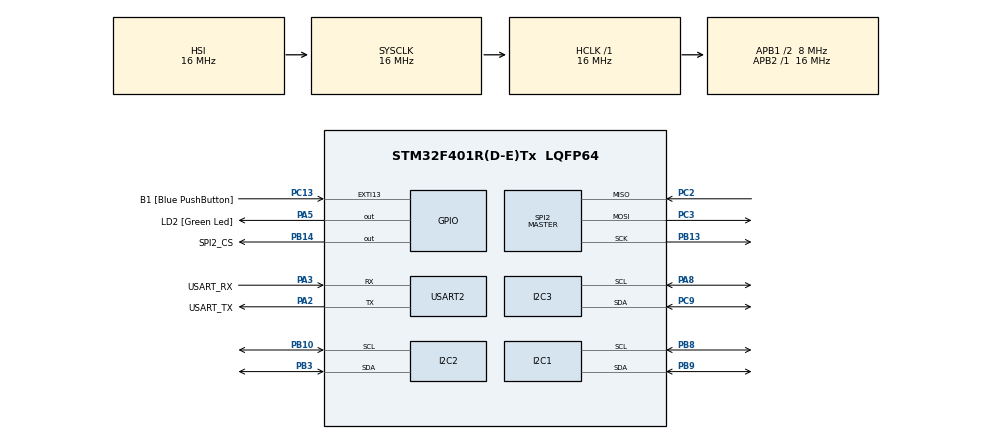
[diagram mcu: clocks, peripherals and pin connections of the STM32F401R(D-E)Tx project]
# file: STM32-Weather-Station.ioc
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Mcu.Family=STM32F4
Mcu.Name=STM32F401R(D-E)Tx
Mcu.Package=LQFP64
NVIC.I2C1_ER_IRQn=true\:0\:0\:false\:false\:true\:true\:true\:true
NVIC.I2C1_EV_IRQn=true\:0\:0\:false\:false\:true\:true\:true\:true
NVIC.I2C3_ER_IRQn=true\:0\:0\:false\:false\:true\:true\:true\:true
NVIC.I2C3_EV_IRQn=true\:0\:0\:false\:false\:true\:true\:true\:true
NVIC.PriorityGroup=NVIC_PRIORITYGROUP_4
PA13.GPIO_Label=TMS
PA13.Mode=Serial_Wire
PA13.Signal=SYS_JTMS-SWDIO
PA14.GPIO_Label=TCK
PA14.Mode=Serial_Wire
PA14.Signal=SYS_JTCK-SWCLK
PA2.GPIO_Label=USART_TX
PA2.GPIO_Mode=GPIO_MODE_AF_PP
PA2.GPIO_PuPd=GPIO_NOPULL
PA2.GPIO_Speed=GPIO_SPEED_FREQ_LOW
PA2.Mode=Asynchronous
PA2.Signal=USART2_TX
PA3.GPIO_Label=USART_RX
PA3.GPIO_Mode=GPIO_MODE_AF_PP
PA3.GPIO_PuPd=GPIO_NOPULL
PA3.GPIO_Speed=GPIO_SPEED_FREQ_LOW
PA3.Mode=Asynchronous
PA3.Signal=USART2_RX
PA5.GPIO_Label=LD2 [Green Led]
PA5.GPIO_Mode=GPIO_MODE_OUTPUT_PP
PA5.GPIO_PuPd=GPIO_NOPULL
PA5.GPIO_Speed=GPIO_SPEED_FREQ_LOW
PA5.Signal=GPIO_Output
PA8.GPIO_Pu=GPIO_PULLUP
PA8.Mode=I2C
PA8.Signal=I2C3_SCL
PB10.GPIO_Pu=GPIO_PULLUP
PB10.Mode=I2C
PB10.Signal=I2C2_SCL
PB13.GPIO_PuPd=GPIO_NOPULL
PB13.Mode=Full_Duplex_Master
PB13.Signal=SPI2_SCK
PB14.GPIO_Label=SPI2_CS
PB14.GPIO_PuPd=GPIO_PULLUP
PB14.PinState=GPIO_PIN_SET
PB14.Signal=GPIO_Output
PB3.GPIO_Pu=GPIO_PULLUP
PB3.Mode=I2C
PB3.Signal=I2C2_SDA
PB8.GPIO_Pu=GPIO_PULLUP
PB8.Mode=I2C
PB8.Signal=I2C1_SCL
PB9.GPIO_Pu=GPIO_PULLUP
PB9.Mode=I2C
PB9.Signal=I2C1_SDA
PC13-ANTI_TAMP.GPIO_Label=B1 [Blue PushButton]
PC13-ANTI_TAMP.GPIO_ModeDefaultEXTI=GPIO_MODE_IT_FALLING
PC13-ANTI_TAMP.GPIO_PuPd=GPIO_NOPULL
PC13-ANTI_TAMP.Signal=GPXTI13
PC14-OSC32_IN.Mode=LSE-External-Oscillator
PC14-OSC32_IN.Signal=RCC_OSC32_IN
PC15-OSC32_OUT.Mode=LSE-External-Oscillator
PC15-OSC32_OUT.Signal=RCC_OSC32_OUT
PC2.GPIO_PuPd=GPIO_NOPULL
PC2.Mode=Full_Duplex_Master
PC2.Signal=SPI2_MISO
PC3.GPIO_PuPd=GPIO_NOPULL
PC3.Mode=Full_Duplex_Master
PC3.Signal=SPI2_MOSI
PC9.GPIO_Pu=GPIO_PULLUP
PC9.Mode=I2C
PC9.Signal=I2C3_SDA
PH0\ -\ OSC_IN.Mode=HSE-External-Clock-Source
PH0\ -\ OSC_IN.Signal=RCC_OSC_IN
PH1\ -\ OSC_OUT.Mode=HSE-External-Clock-Source
PH1\ -\ OSC_OUT.Signal=RCC_OSC_OUT
ProjectManager.HeapSize=0x200
ProjectManager.StackSize=0x400
ProjectManager.TargetToolchain=STM32CubeIDE
RCC.48MHZClocksFreq_Value=48000000
RCC.AHBFreq_Value=16000000
RCC.APB1CLKDivider=RCC_HCLK_DIV2
RCC.APB1Freq_Value=8000000
RCC.APB1TimFreq_Value=16000000
RCC.APB2Freq_Value=16000000
RCC.APB2TimFreq_Value=16000000
RCC.CortexFreq_Value=16000000
RCC.HCLKFreq_Value=16000000
RCC.HSE_VALUE=8000000
RCC.HSI_VALUE=16000000
RCC.PLLN=336
RCC.PLLP=RCC_PLLP_DIV4
RCC.PLLQ=7
RCC.SYSCLKFreq_VALUE=16000000
RCC.VCOOutputFreq_Value=336000000
SPI2.BaudRatePrescaler=SPI_BAUDRATEPRESCALER_256
SPI2.Direction=SPI_DIRECTION_2LINES
SPI2.Mode=SPI_MODE_MASTER
SPI2.VirtualType=VM_MASTER
USART2.VirtualMode=VM_ASYNC
VP_FATFS_VS_Generic.Mode=User_defined
board=NUCLEO-F401RE

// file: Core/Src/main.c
/* USER CODE BEGIN Header */
/**
  ******************************************************************************
  * @file           : main.c
  * @brief          : Main program body
  ******************************************************************************
  * @attention
  *
  * Copyright (c) 2026 STMicroelectronics.
  * All rights reserved.
  *
  * This software is licensed under terms that can be found in the LICENSE file
  * in the root directory of this software component.
  * If no LICENSE file comes with this software, it is provided AS-IS.
  *
  ******************************************************************************
  */
/* USER CODE END Header */
#include "main.h"
#include "fatfs.h"

/* USER CODE BEGIN Includes */
#include <string.h>
#include <stdio.h>
#include "ssd1306.h"
#include "ssd1306_fonts.h"
#include <stdarg.h>
/* USER CODE END Includes */

I2C_HandleTypeDef hi2c1;
I2C_HandleTypeDef hi2c2;
I2C_HandleTypeDef hi2c3;

SPI_HandleTypeDef hspi2;

UART_HandleTypeDef huart2;

/* USER CODE BEGIN PV */

// I2C with BME280 (Press,Hum,Temp Module)
uint8_t TX_Buffer_BME280 = 0 ; // DATA to send
uint16_t TX_Address_BME280 = 0 ; // Address to send to
uint8_t RX_Buffer_BME280 = 0 ; // DATA to receive from BME280
uint16_t RX_Address_BME280 = 0 ; // Address to read
uint8_t RX_DevAddress_BME280 = 0xEC; // 0x76 shifted once (Address on [7:1])
uint8_t RX_Buffer_BME280_Burst[BURST_SIZE];

//BME280 Compensation Reading
uint8_t RX_Buffer_BME280_Burst_Compensation_1[COMPENSATION_BURST_SIZE_1];
uint8_t RX_Buffer_BME280_Burst_Compensation_2[COMPENSATION_BURST_SIZE_2];
//BME280 Compensation Variables
unsigned short dig_T1,dig_P1;
signed short dig_T2,dig_T3,dig_P2,dig_P3,dig_P4,dig_P5,dig_P6,dig_P7,dig_P8,dig_P9,dig_H2,dig_H4,dig_H5;
unsigned char dig_H1,dig_H3;
signed char dig_H6;

//BME280 Data Conversion
uint32_t t_fine;
uint32_t humidity_raw = 0; //16bits
uint32_t temperature_raw = 0; //20bits
uint32_t pressure_raw = 0; //20bits
uint32_t humidity_compensated, temperature_compensated, pressure_compensated;
uint32_t temp_int,temp_dec,humid_int,humid_dec,press_int,press_dec; //Real Data readable (e.g 22.67degC)

//RTC Module Variables
uint8_t RX_DevAddress_RTC = 0xD0; //1101 0000 Read
uint8_t TX_DevAddress_RTC = 0xD1; //1101 0001 Write
uint8_t RX_Address_RTC = 0;
uint8_t TX_Address_RTC = 0;
uint8_t RX_Buffer_RTC_Burst[BURST_SIZE_RTC];

uint8_t currentYear = 0;
uint8_t currentMonth = 0;
uint8_t currentDay = 0;
uint8_t currentHour = 0;
uint8_t currentMinute = 0;
uint8_t currentSecond = 0;
char currentDate[128];

/* USER CODE END PV */

void SystemClock_Config(void);
static void MX_GPIO_Init(void);
static void MX_I2C1_Init(void);
static void MX_USART2_UART_Init(void);
static void MX_I2C3_Init(void);
static void MX_I2C2_Init(void);
static void MX_SPI2_Init(void);
/* USER CODE BEGIN PFP */
void myprintf(const char *fmt,...);
/* USER CODE END PFP */

/* USER CODE BEGIN 0 */

void myprintf(const char *fmt, ...) {
  static char buffer[256];
  va_list args;
  va_start(args, fmt);
  vsnprintf(buffer, sizeof(buffer), fmt, args);
  va_end(args);

  int len = strlen(buffer);
  HAL_UART_Transmit(&huart2, (uint8_t*)buffer, len, -1);

}

/* USER CODE END 0 */

int main(void)
{

  /* MCU Configuration--------------------------------------------------------*/

  /* Reset of all peripherals, Initializes the Flash interface and the Systick. */
  HAL_Init();

  /* Configure the system clock */
  SystemClock_Config();

  /* Initialize all configured peripherals */
  MX_GPIO_Init();
  MX_I2C1_Init();
  MX_USART2_UART_Init();
  MX_I2C3_Init();
  MX_I2C2_Init();
  MX_SPI2_Init();
  MX_FATFS_Init();
  /* USER CODE BEGIN 2 */

  char test[] = "--- TEST UART STM32 OK ---\r\n";
  HAL_UART_Transmit(&huart2, (uint8_t*)test, strlen(test), HAL_MAX_DELAY);

  //Set up BME280 Configuration
  BME280_Init();

  //Getting Weather Data From BME280
  BME280_GetData();

  HAL_Delay(100);

  //Setting SSD1306 OLED Display
  ssd1306_Init();

  //Uncomment the following line to manually set the date (when Vbatt is off or replaced)
  //ds3231_Init(2026, 9, 8, 12, 18, 0);

  //Uncomment those lines to reset SD Card File Management
  //Deletes old version of the txt and csv file
  //fatFS_deleteFile("weather.txt");
  //fatFS_deleteFile("weather.csv");

  ds3231_getDate();
  fatFS_writeFile(); //First Input writing when turning ON the STM32
  fatFS_inputCSV();
  fatFS_readFile(); //Reading weather.txt, the text file containing the weather datas

  /* USER CODE END 2 */

  /* Infinite loop */
  /* USER CODE BEGIN WHILE */
  while (1)
  {

	//Read Date
	ds3231_getDate();
	//Getting Weather Data From BME280
	BME280_GetData();
	HAL_Delay(1000);

	//Printing Weather Informations on the OLED Display
	ssd1306_WriteWeatherInfos(currentDate, temp_int,temp_dec,humid_int,humid_dec,press_int,press_dec);
	HAL_Delay(2000);

	//Every 5minutes, we write the data into the SD Card
	//In a text file, and in a csv file used to display datas on apps for example
	if((currentMinute%5 == 0) && (currentSecond<3)){
		fatFS_writeFile();
		fatFS_inputCSV();
	}

    /* USER CODE END WHILE */

  }
}

void SystemClock_Config(void)
{
  RCC_OscInitTypeDef RCC_OscInitStruct = {0};
  RCC_ClkInitTypeDef RCC_ClkInitStruct = {0};

  /** Configure the main internal regulator output voltage
  */
  __HAL_RCC_PWR_CLK_ENABLE();
  __HAL_PWR_VOLTAGESCALING_CONFIG(PWR_REGULATOR_VOLTAGE_SCALE2);

  /** Initializes the RCC Oscillators according to the specified parameters
  * in the RCC_OscInitTypeDef structure.
  */
  RCC_OscInitStruct.OscillatorType = RCC_OSCILLATORTYPE_HSI;
  RCC_OscInitStruct.HSIState = RCC_HSI_ON;
  RCC_OscInitStruct.HSICalibrationValue = RCC_HSICALIBRATION_DEFAULT;
  RCC_OscInitStruct.PLL.PLLState = RCC_PLL_NONE;
  if (HAL_RCC_OscConfig(&RCC_OscInitStruct) != HAL_OK)
  {
    Error_Handler();
  }

  /** Initializes the CPU, AHB and APB buses clocks
  */
  RCC_ClkInitStruct.ClockType = RCC_CLOCKTYPE_HCLK|RCC_CLOCKTYPE_SYSCLK
                              |RCC_CLOCKTYPE_PCLK1|RCC_CLOCKTYPE_PCLK2;
  RCC_ClkInitStruct.SYSCLKSource = RCC_SYSCLKSOURCE_HSI;
  RCC_ClkInitStruct.AHBCLKDivider = RCC_SYSCLK_DIV1;
  RCC_ClkInitStruct.APB1CLKDivider = RCC_HCLK_DIV2;
  RCC_ClkInitStruct.APB2CLKDivider = RCC_HCLK_DIV1;

  if (HAL_RCC_ClockConfig(&RCC_ClkInitStruct, FLASH_LATENCY_0) != HAL_OK)
  {
    Error_Handler();
  }
}

static void MX_I2C1_Init(void)
{

  hi2c1.Instance = I2C1;
  hi2c1.Init.ClockSpeed = 100000;
  hi2c1.Init.DutyCycle = I2C_DUTYCYCLE_2;
  hi2c1.Init.OwnAddress1 = 0;
  hi2c1.Init.AddressingMode = I2C_ADDRESSINGMODE_7BIT;
  hi2c1.Init.DualAddressMode = I2C_DUALADDRESS_DISABLE;
  hi2c1.Init.OwnAddress2 = 0;
  hi2c1.Init.GeneralCallMode = I2C_GENERALCALL_DISABLE;
  hi2c1.Init.NoStretchMode = I2C_NOSTRETCH_DISABLE;
  if (HAL_I2C_Init(&hi2c1) != HAL_OK)
  {
    Error_Handler();
  }

}

static void MX_I2C2_Init(void)
{

  hi2c2.Instance = I2C2;
  hi2c2.Init.ClockSpeed = 100000;
  hi2c2.Init.DutyCycle = I2C_DUTYCYCLE_2;
  hi2c2.Init.OwnAddress1 = 0;
  hi2c2.Init.AddressingMode = I2C_ADDRESSINGMODE_7BIT;
  hi2c2.Init.DualAddressMode = I2C_DUALADDRESS_DISABLE;
  hi2c2.Init.OwnAddress2 = 0;
  hi2c2.Init.GeneralCallMode = I2C_GENERALCALL_DISABLE;
  hi2c2.Init.NoStretchMode = I2C_NOSTRETCH_DISABLE;
  if (HAL_I2C_Init(&hi2c2) != HAL_OK)
  {
    Error_Handler();
  }

}

static void MX_I2C3_Init(void)
{

  hi2c3.Instance = I2C3;
  hi2c3.Init.ClockSpeed = 100000;
  hi2c3.Init.DutyCycle = I2C_DUTYCYCLE_2;
  hi2c3.Init.OwnAddress1 = 0;
  hi2c3.Init.AddressingMode = I2C_ADDRESSINGMODE_7BIT;
  hi2c3.Init.DualAddressMode = I2C_DUALADDRESS_DISABLE;
  hi2c3.Init.OwnAddress2 = 0;
  hi2c3.Init.GeneralCallMode = I2C_GENERALCALL_DISABLE;
  hi2c3.Init.NoStretchMode = I2C_NOSTRETCH_DISABLE;
  if (HAL_I2C_Init(&hi2c3) != HAL_OK)
  {
    Error_Handler();
  }

}

static void MX_SPI2_Init(void)
{

  /* SPI2 parameter configuration*/
  hspi2.Instance = SPI2;
  hspi2.Init.Mode = SPI_MODE_MASTER;
  hspi2.Init.Direction = SPI_DIRECTION_2LINES;
  hspi2.Init.DataSize = SPI_DATASIZE_8BIT;
  hspi2.Init.CLKPolarity = SPI_POLARITY_LOW;
  hspi2.Init.CLKPhase = SPI_PHASE_1EDGE;
  hspi2.Init.NSS = SPI_NSS_SOFT;
  hspi2.Init.BaudRatePrescaler = SPI_BAUDRATEPRESCALER_256;
  hspi2.Init.FirstBit = SPI_FIRSTBIT_MSB;
  hspi2.Init.TIMode = SPI_TIMODE_DISABLE;
  hspi2.Init.CRCCalculation = SPI_CRCCALCULATION_DISABLE;
  hspi2.Init.CRCPolynomial = 10;
  if (HAL_SPI_Init(&hspi2) != HAL_OK)
  {
    Error_Handler();
  }

}

static void MX_USART2_UART_Init(void)
{

  huart2.Instance = USART2;
  huart2.Init.BaudRate = 115200;
  huart2.Init.WordLength = UART_WORDLENGTH_8B;
  huart2.Init.StopBits = UART_STOPBITS_1;
  huart2.Init.Parity = UART_PARITY_NONE;
  huart2.Init.Mode = UART_MODE_TX_RX;
  huart2.Init.HwFlowCtl = UART_HWCONTROL_NONE;
  huart2.Init.OverSampling = UART_OVERSAMPLING_16;
  if (HAL_UART_Init(&huart2) != HAL_OK)
  {
    Error_Handler();
  }

}

static void MX_GPIO_Init(void)
{
  GPIO_InitTypeDef GPIO_InitStruct = {0};

  /* GPIO Ports Clock Enable */
  __HAL_RCC_GPIOC_CLK_ENABLE();
  __HAL_RCC_GPIOH_CLK_ENABLE();
  __HAL_RCC_GPIOA_CLK_ENABLE();
  __HAL_RCC_GPIOB_CLK_ENABLE();

  /*Configure GPIO pin Output Level */
  HAL_GPIO_WritePin(LD2_GPIO_Port, LD2_Pin, GPIO_PIN_RESET);

  /*Configure GPIO pin Output Level */
  HAL_GPIO_WritePin(SPI2_CS_GPIO_Port, SPI2_CS_Pin, GPIO_PIN_SET);

  /*Configure GPIO pin : B1_Pin */
  GPIO_InitStruct.Pin = B1_Pin;
  GPIO_InitStruct.Mode = GPIO_MODE_IT_FALLING;
  GPIO_InitStruct.Pull = GPIO_NOPULL;
  HAL_GPIO_Init(B1_GPIO_Port, &GPIO_InitStruct);

  /*Configure GPIO pin : LD2_Pin */
  GPIO_InitStruct.Pin = LD2_Pin;
  GPIO_InitStruct.Mode = GPIO_MODE_OUTPUT_PP;
  GPIO_InitStruct.Pull = GPIO_NOPULL;
  GPIO_InitStruct.Speed = GPIO_SPEED_FREQ_LOW;
  HAL_GPIO_Init(LD2_GPIO_Port, &GPIO_InitStruct);

  /*Configure GPIO pin : SPI2_CS_Pin */
  GPIO_InitStruct.Pin = SPI2_CS_Pin;
  GPIO_InitStruct.Mode = GPIO_MODE_OUTPUT_PP;
  GPIO_InitStruct.Pull = GPIO_PULLUP;
  GPIO_InitStruct.Speed = GPIO_SPEED_FREQ_LOW;
  HAL_GPIO_Init(SPI2_CS_GPIO_Port, &GPIO_InitStruct);

}

/* USER CODE BEGIN 4 */

void BME280_Init(void) {

    // Humidity ON register 0xF2
    TX_Buffer_BME280 = 0x01; // x1 Oversampling
    HAL_I2C_Mem_Write(&hi2c1, RX_DevAddress_BME280, 0xF2, I2C_MEMADD_SIZE_8BIT, &TX_Buffer_BME280, 1, 100);

    // Pression, Température Configuration and switch to NORMAL MODE (0x27)
    // Bit [7:5] x1 Temp oversampling (001)
    // Bit [4:2] x1 Press oversampling (001)
    // Bit [1:0] NORMAL MODE (11) -> 0010 0111 = 0x27
    TX_Buffer_BME280 = 0x27;
    HAL_I2C_Mem_Write(&hi2c1, RX_DevAddress_BME280, 0xF4, I2C_MEMADD_SIZE_8BIT, &TX_Buffer_BME280, 1, 100);

    HAL_Delay(100);
}

void BME280_GetData(void){

		BME280_isConnected();

		//Burst Reading BME280 Registers (Humidity, Pressure, Temperature Datas)

		if(RX_Buffer_BME280 == (uint8_t)0x60){

			//Burst Reading : 111011X1 Read-Mode
		    //From 0xF7 to 0xFE to obtain all informations at once
			RX_DevAddress_BME280 = 0xEC;
			RX_Address_BME280 = 0xF7;

			//Reading  Press,Humid,Temp from BME280
			HAL_I2C_Mem_Read(&hi2c1,RX_DevAddress_BME280,RX_Address_BME280,I2C_MEMADD_SIZE_8BIT,RX_Buffer_BME280_Burst,BURST_SIZE,1000);

			//RX_Buffer_BME280_Burst[6:7] HUMIDITY
			humidity_raw = RX_Buffer_BME280_Burst[6]<<8 | RX_Buffer_BME280_Burst[7];
			//RX_Buffer_BME280_Burst[3:5] TEMPERATURE
			temperature_raw = RX_Buffer_BME280_Burst[3]<<12 | RX_Buffer_BME280_Burst[4]<<4 | RX_Buffer_BME280_Burst[5]>>4;
			//RX_Buffer_BME280_Burst[0:2] PRESSURE
			pressure_raw = RX_Buffer_BME280_Burst[0]<<12 | RX_Buffer_BME280_Burst[1]<<4 | RX_Buffer_BME280_Burst[2]>>4;

			//Printing data to Terminal via UART
			BME280_print_raw_data();

			//Getting Compensation values from BME280;
			BME280_compensation_read();

			//Conversion from Raw to Human-Readable Data
			//Conversion formulas are provided by Bosch in the BME280 Datasheet provided in /docs

			temperature_compensated = BME280_compensate_T_int32(temperature_raw);
			pressure_compensated = BME280_compensate_P_int64(pressure_raw);
			humidity_compensated = BME280_compensate_H_int32(humidity_raw);

			BME280_print_compensated_data();

		}
}

void BME280_isConnected(void)
{
	// Receive BME280 Chip Id (0x60 on default)
	RX_Address_BME280 = 0xD0;

	if(HAL_I2C_Mem_Read(&hi2c1,RX_DevAddress_BME280,RX_Address_BME280,I2C_MEMADD_SIZE_8BIT,&RX_Buffer_BME280,1,1000) == HAL_OK) //Sending in Interrupt mode
	{
		//Send Chip_Id to PC via UART (PutTy)
		char buf[64];
		sprintf(buf, "Chip Id: %X\r\n", RX_Buffer_BME280);
		HAL_UART_Transmit(&huart2, (uint8_t*)buf, strlen(buf), HAL_MAX_DELAY);
	}
	else
	{
		char buf[64];
		sprintf(buf, "Chip not connected \r\n");
		HAL_UART_Transmit(&huart2, (uint8_t*)buf, strlen(buf), HAL_MAX_DELAY);
	}
}

void BME280_print_raw_data(void)
{
	char buf[64];
	sprintf(buf, "--- RAW DATA FROM BME280 --- \r\n");
	HAL_UART_Transmit(&huart2, (uint8_t*)buf, strlen(buf), HAL_MAX_DELAY);

	sprintf(buf, "Humidity raw : %lu \r\n", humidity_raw);
	HAL_UART_Transmit(&huart2, (uint8_t*)buf, strlen(buf), HAL_MAX_DELAY);

	sprintf(buf, "Temperature raw : %lu \r\n", temperature_raw);
	HAL_UART_Transmit(&huart2, (uint8_t*)buf, strlen(buf), HAL_MAX_DELAY);

	sprintf(buf, "Pressure raw : %lu \r\n", pressure_raw);
	HAL_UART_Transmit(&huart2, (uint8_t*)buf, strlen(buf), HAL_MAX_DELAY);
}

void BME280_compensation_read(void)
{
	//Reading Coefficients in the BME280 EEPROM Memory (Burst Reading)
	RX_Address_BME280 = 0x88;
	HAL_I2C_Mem_Read(&hi2c1,RX_DevAddress_BME280,RX_Address_BME280,I2C_MEMADD_SIZE_8BIT,RX_Buffer_BME280_Burst_Compensation_1,COMPENSATION_BURST_SIZE_1,1000);
	RX_Address_BME280 = 0xE1;
	HAL_I2C_Mem_Read(&hi2c1,RX_DevAddress_BME280,RX_Address_BME280,I2C_MEMADD_SIZE_8BIT,RX_Buffer_BME280_Burst_Compensation_2,COMPENSATION_BURST_SIZE_2,1000);

	//Parsing Burst Reading into Compensation variables
	dig_T1 = (unsigned short) (RX_Buffer_BME280_Burst_Compensation_1[1]<<8 | RX_Buffer_BME280_Burst_Compensation_1[0]);
	dig_T2 = (signed short) (RX_Buffer_BME280_Burst_Compensation_1[3]<<8 | RX_Buffer_BME280_Burst_Compensation_1[2]);
	dig_T3 = (signed short) (RX_Buffer_BME280_Burst_Compensation_1[5]<<8 | RX_Buffer_BME280_Burst_Compensation_1[4]);

	dig_P1 = (unsigned short) (RX_Buffer_BME280_Burst_Compensation_1[7]<<8 | RX_Buffer_BME280_Burst_Compensation_1[6]);
	dig_P2 = (signed short) (RX_Buffer_BME280_Burst_Compensation_1[9]<<8 | RX_Buffer_BME280_Burst_Compensation_1[8]);
	dig_P3 = (signed short) (RX_Buffer_BME280_Burst_Compensation_1[11]<<8 | RX_Buffer_BME280_Burst_Compensation_1[10]);
	dig_P4 = (signed short) (RX_Buffer_BME280_Burst_Compensation_1[13]<<8 | RX_Buffer_BME280_Burst_Compensation_1[12]);
	dig_P5 = (signed short) (RX_Buffer_BME280_Burst_Compensation_1[15]<<8 | RX_Buffer_BME280_Burst_Compensation_1[14]);
	dig_P6 = (signed short) (RX_Buffer_BME280_Burst_Compensation_1[17]<<8 | RX_Buffer_BME280_Burst_Compensation_1[16]);
	dig_P7 = (signed short) (RX_Buffer_BME280_Burst_Compensation_1[19]<<8 | RX_Buffer_BME280_Burst_Compensation_1[18]);
	dig_P8 = (signed short) (RX_Buffer_BME280_Burst_Compensation_1[21]<<8 | RX_Buffer_BME280_Burst_Compensation_1[20]);
	dig_P9 = (signed short) (RX_Buffer_BME280_Burst_Compensation_1[23]<<8 | RX_Buffer_BME280_Burst_Compensation_1[22]);

	dig_H1 = (unsigned char) (RX_Buffer_BME280_Burst_Compensation_1[24]);
	dig_H2 = (signed short) (RX_Buffer_BME280_Burst_Compensation_2[1]<<8 | RX_Buffer_BME280_Burst_Compensation_2[0]);
	dig_H3 = (unsigned char) (RX_Buffer_BME280_Burst_Compensation_2[2]);
	dig_H4 = (signed short) ((signed char)RX_Buffer_BME280_Burst_Compensation_2[3]<<4) | (RX_Buffer_BME280_Burst_Compensation_2[4] & 0x0F);
	dig_H5 = (signed short) ((signed char)RX_Buffer_BME280_Burst_Compensation_2[5]<<4) | (RX_Buffer_BME280_Burst_Compensation_2[4]>>4);
	dig_H6 = (signed char) (RX_Buffer_BME280_Burst_Compensation_2[6]);
}

// Returns temperature in DegC, resolution is 0.01 DegC. Output value of “5123” equals 51.23 DegC.
// t_fine carries fine temperature as global value
uint32_t BME280_compensate_T_int32(uint32_t adc_T)
{
	uint32_t var1, var2, T;
	var1  = ((((adc_T>>3) - ((int32_t)dig_T1<<1))) * ((int32_t)dig_T2)) >> 11;
	var2  = (((((adc_T>>4) - ((int32_t)dig_T1)) * ((adc_T>>4) - ((int32_t)dig_T1)))>> 12) *((int32_t)dig_T3)) >> 14;
	t_fine = var1 + var2;
	T  = (t_fine * 5 + 128) >> 8;
	return T;
}

// Returns pressure in Pa as unsigned 32 bit integer in Q24.8 format (24 integer bits and 8fractional bits).
// Output value of “24674867” represents 24674867/256 = 96386.2 Pa = 963.862 hPa

uint32_t BME280_compensate_P_int64(int32_t adc_P)
{
	int64_t var1, var2, p;
	var1 = ((int64_t)t_fine) - 128000;
	var2 = var1 * var1 * (int64_t)dig_P6;
	var2 = var2 + ((var1*(int64_t)dig_P5)<<17);
	var2 = var2 + (((int64_t)dig_P4)<<35);
	var1 = ((var1 * var1 * (int64_t)dig_P3)>>8) + ((var1 * (int64_t)dig_P2)<<12);
	var1 = (((((int64_t)1)<<47)+var1))*((int64_t)dig_P1)>>33;
	if (var1 == 0)
	{
		return 0; // avoid exception caused by division by zero
	}
	p = 1048576-adc_P;
	p = (((p<<31)-var2)*3125)/var1;
	var1 = (((int64_t)dig_P9) * (p>>13) * (p>>13)) >> 25;
	var2 = (((int64_t)dig_P8) * p) >> 19;
	p = ((p + var1 + var2) >> 8) + (((int64_t)dig_P7)<<4);
	return (uint32_t)p;
}

// Returns humidity in %RH as unsigned 32 bit integer in Q22.10 format (22 integer and 10 fractional bits).
// Output value of “47445” represents 47445/1024 = 46.333 %RH
uint32_t BME280_compensate_H_int32(int32_t adc_H)
{
	int32_t v_x1_u32r;
	v_x1_u32r = (t_fine - ((int32_t)76800));
	v_x1_u32r = (((((adc_H << 14) - (((int32_t)dig_H4) << 20) - (((int32_t)dig_H5) * v_x1_u32r)) + ((int32_t)16384)) >> 15) * (((((((v_x1_u32r *((int32_t)dig_H6)) >> 10) * (((v_x1_u32r * ((int32_t)dig_H3)) >> 11) + ((int32_t)32768))) >> 10) + ((int32_t)2097152)) * ((int32_t)dig_H2) + 8192) >> 14));
	v_x1_u32r = (v_x1_u32r - (((((v_x1_u32r >> 15) * (v_x1_u32r >> 15)) >> 7) * ((int32_t)dig_H1)) >> 4));
	v_x1_u32r = (v_x1_u32r < 0 ? 0 : v_x1_u32r);
	v_x1_u32r = (v_x1_u32r > 419430400 ? 419430400 : v_x1_u32r);
	return (uint32_t)(v_x1_u32r>>12);
}

void BME280_print_compensated_data(void)
{
	char buf[64];

	sprintf(buf, "--- COMPENSATED DATA FROM BME280 --- \r\n");
	HAL_UART_Transmit(&huart2, (uint8_t*)buf, strlen(buf), HAL_MAX_DELAY);

	temp_int = temperature_compensated / 100;
	temp_dec = temperature_compensated % 100;
	sprintf(buf, "Temperature : %d.%d °C\r\n", (int)temp_int,(int)temp_dec);
	HAL_UART_Transmit(&huart2, (uint8_t*)buf, strlen(buf), HAL_MAX_DELAY);

	press_int = pressure_compensated/25600;
	press_dec = ((pressure_compensated % 25600)*100) / 25600;
	sprintf(buf, "Pressure : %d.%d hPa\r\n", (int)press_int,(int)press_dec);
	HAL_UART_Transmit(&huart2, (uint8_t*)buf, strlen(buf), HAL_MAX_DELAY);

	humid_int = humidity_compensated/1024;
	humid_dec = ((humidity_compensated % 1024)*100) / 1024;
	sprintf(buf, "Humidity : %d.%d RH\r\n", (int)humid_int,(int)humid_dec);
	HAL_UART_Transmit(&huart2, (uint8_t*)buf, strlen(buf), HAL_MAX_DELAY);
}

//Conversion from Decimal to BCD (Writing into RTC)
uint8_t decToBcd(uint8_t val) {
    return ((val / 10) << 4) | (val % 10);
}

//This function needs to be called if the RTC module onboard battery has been switched
//It gives the RTC Module the current time in order to setup its own clock
void ds3231_Init(int year, int month, int day, int hour, int minute, int second)
{
	//Setting up RTC Date
	uint8_t setDate[7];
	TX_Address_RTC = 0x00;

	setDate[0] = decToBcd(second);
	setDate[1] = decToBcd(minute);
	setDate[2] = decToBcd(hour);     // 24h Mode
	setDate[3] = decToBcd(0x00); //Skipped
	setDate[4] = decToBcd(day);
	setDate[5] = decToBcd(month);
	setDate[6] = decToBcd(year % 100); //Only contains the last two digits

	//Burst Write
	HAL_I2C_Mem_Write(&hi2c2, TX_DevAddress_RTC, TX_Address_RTC, I2C_MEMADD_SIZE_8BIT, setDate, sizeof(setDate), 100);

	//Debugging
	char buf[64];
	for (int i=0;i<7;i++)
	{
		sprintf(buf, "Data %d : %u \r\n", i,setDate[i]);
		HAL_UART_Transmit(&huart2, (uint8_t*)buf, strlen(buf), HAL_MAX_DELAY);
	}

}

//Get current date from ds3231 RTC Module
void ds3231_getDate(void)
{
	//Burst Reading the RTC registers
	RX_Address_RTC = 0x00;
	HAL_I2C_Mem_Read(&hi2c2,RX_DevAddress_RTC,RX_Address_RTC,I2C_MEMADD_SIZE_8BIT,RX_Buffer_RTC_Burst,BURST_SIZE_RTC,1000);

	//Setting variables
	//BCD (Binary-Coded Decimal) format, Needs conversion
	currentYear = ((RX_Buffer_RTC_Burst[6]>>4)*10) + (RX_Buffer_RTC_Burst[6] & 0x0F); //Year only contains last digits
	currentMonth = (((RX_Buffer_RTC_Burst[5]>>4) & 0x01)*10) + (RX_Buffer_RTC_Burst[5] & 0x0F);
	currentDay = (((RX_Buffer_RTC_Burst[4]>>4) & 0x03)*10) + (RX_Buffer_RTC_Burst[4] & 0x0F);
	currentHour = (((RX_Buffer_RTC_Burst[2]>>4) & 0x03)*10) + (RX_Buffer_RTC_Burst[2] & 0x0F);
	currentMinute = ((RX_Buffer_RTC_Burst[1]>>4)*10) + (RX_Buffer_RTC_Burst[1] & 0x0F);
	currentSecond = (((RX_Buffer_RTC_Burst[0] & 0x7F)>>4)*10) + (RX_Buffer_RTC_Burst[0] & 0x0F);

	//Setting currentDate Value for saving in SD Card and Display on OLED Screen
	sprintf(currentDate, "%02d/%02d/%02d %02d:%02d",currentDay,currentMonth,currentYear+2000,currentHour,currentMinute);

	//Uncomment those lines to debug the clock via UART
	//char test[128];
	//sprintf(test, "Year : %d \r\nMonth : %d \r\nDay : %d \r\nHour : %d \r\nMinutes : %d \r\nSeconds : %d \r\n", RX_Buffer_RTC_Burst[6],RX_Buffer_RTC_Burst[5],RX_Buffer_RTC_Burst[4],RX_Buffer_RTC_Burst[2],RX_Buffer_RTC_Burst[1],RX_Buffer_RTC_Burst[0]);
	//HAL_UART_Transmit(&huart2, (uint8_t*)test, strlen(test), HAL_MAX_DELAY);
}

//Function used to Write current weather data into the SD Card
void fatFS_writeFile(void)
{
	myprintf("\r\n~ Writing Data in SD Card ~\r\n\r\n");

	HAL_Delay(1000); //a short delay is important to let the SD card settle

	//some variables for FatFs
	FATFS FatFs; 	//Fatfs handle
	FIL fil; 		//File handle
	FRESULT fres; //Result after operations

	//Open the file system
	fres = f_mount(&FatFs, "", 1); //1=mount now
	if (fres != FR_OK) {
	   	myprintf("f_mount error (%i)\r\n", fres);
	   	while(1);
	}

    //Opening weather.txt to write weather data in the SD Card
    fres = f_open(&fil, "weather.txt", FA_WRITE | FA_OPEN_APPEND);
    if(fres == FR_OK) {
  	myprintf("I was able to open 'weather.txt' for writing\r\n");
    } else {
  	myprintf("f_open error (%i)\r\n", fres);
    }

    //Copy in the data
    BYTE writeBuf[256];
    sprintf(writeBuf, "--- %s --- \r\nTemperature : %u.%u deg \r\nHumidity : %u.%u RH \r\nPressure : %u.%u hPa \r\n", currentDate, (int)temp_int,(int)temp_dec,(int)humid_int,(int)humid_dec,(int)press_int,(int)press_dec);
    UINT bytesWrote;
    fres = f_write(&fil, writeBuf, strlen(writeBuf), &bytesWrote);
    if(fres == FR_OK) {
    	myprintf("Wrote %i bytes to 'weather.txt'!\r\n", bytesWrote);
    } else {
    	myprintf("f_write error (%i)\r\n", fres);
    }

    //Close the file
    f_close(&fil);

    //We're done, so de-mount the drive
    f_mount(NULL, "", 0);
}

void fatFS_readFile(void)
{
	myprintf("\r\n~ Reading Data from SD Card ~\r\n\r\n");

	HAL_Delay(1000); //a short delay is important to let the SD card settle

	//some variables for FatFs
	FATFS FatFs; 	//Fatfs handle
	FIL fil; 		//File handle
	FRESULT fres; //Result after operations

	//Open the file system
	fres = f_mount(&FatFs, "", 1); //1=mount now
	if (fres != FR_OK) {
	   	myprintf("f_mount error (%i)\r\n", fres);
	   	while(1);
	}

	//Now let's try to open file "test.txt"
	fres = f_open(&fil, "weather.txt", FA_READ);
	if (fres != FR_OK) {
	   	myprintf("f_open error (%i)\r\n", fres);
	   	while(1);
	}
	myprintf("I was able to open 'weather.txt' for reading!\r\n");

	//Read 30 bytes from "test.txt" on the SD card
	BYTE readBuf[256];

	while (!f_eof(&fil)){
	//We can either use f_read OR f_gets to get data out of files
	//f_gets is a wrapper on f_read that does some string formatting for us
		if (f_gets(readBuf, sizeof(readBuf), &fil) != NULL)
		{
			myprintf("%s \r\n", readBuf);
		}
		else
		{
			break; // EOF or Reading ERROR
		}
	}

    //Close the file
	f_close(&fil);

	//We're done, so de-mount the drive
	f_mount(NULL, "", 0);
	myprintf("\r\n\r\n~ Reading complete ~\r\n");
}

//Adding data in a CSV File
void fatFS_inputCSV(void)
{
	//some variables for FatFs
	FATFS FatFs; 	//Fatfs handle
	FIL fil; 		//File handle
	FRESULT fres; //Result after operations
	UINT bw;

	FILINFO fno;
	uint8_t file_is_new = 0;

	// Verifying if file exists
	fres = f_stat("weather.csv", &fno);

	if (fres == FR_NO_FILE) {
	    // The file doesn't exist -> Going to be created
	    file_is_new = 1;
	}

	//Open the file system
	fres = f_mount(&FatFs, "", 1); //1=mount now
	if (fres != FR_OK) {
	   	myprintf("f_mount error (%i)\r\n", fres);
	  	while(1);
	}

    // Opening CSV File in Writing Mode
	// OPEN_APPEND to append data, avoiding overwriting
	// Creating the file if not existing
    fres = f_open(&fil, "weather.csv", FA_WRITE | FA_OPEN_APPEND);
    if (fres == FR_OK)
    {
    	myprintf("I was able to open 'weather.csv' for writing\r\n");
    	//Titling the canva if new
    	if(file_is_new==1){
    		char title[256];
    		int len = sprintf(title, "Date;Temperature(degree C);Humidity(RH);Pressure(hPa)\n");

    		// Writing in the .csv file
            fres = f_write(&fil, title, len, &bw);

    	}
        // CSV Formating
        char buffer[256];
        int len = sprintf(buffer, "%s;%u.%u;%u.%u;%u.%u\n", currentDate, (int)temp_int,(int)temp_dec,(int)humid_int,(int)humid_dec,(int)press_int,(int)press_dec);

        // Writing in the .csv file
        fres = f_write(&fil, buffer, len, &bw);

        // Forced Writing (Security)
        f_sync(&fil);

        // Closing File
        f_close(&fil);

        //We're done, so de-mount the drive
        f_mount(NULL, "", 0);
        myprintf("Wrote data in 'weather.csv'!\r\n");
	}
}

//Deleting a file from SD Card
void fatFS_deleteFile(const char* filename)
{
    FATFS FatFs;
    FRESULT fres;

    // Mounting SD Card
    fres = f_mount(&FatFs, "", 1);
    if (fres != FR_OK) {
        myprintf("f_mount error (%i)\r\n", fres);
        return;
    }

    // Deleting File
    fres = f_unlink(filename);

    if (fres == FR_OK) {
        myprintf("File '%s' successfully deleted !\r\n", filename);
    }
    else if (fres == FR_NO_FILE) {
        myprintf("Error : File '%s' doesn't exist.\r\n", filename);
    }
    else {
        myprintf("Error while deleting (%i)\r\n", fres);
    }

    //We're done, so de-mount the drive
    f_mount(NULL, "", 0);
}

/* USER CODE END 4 */

void Error_Handler(void)
{
  __disable_irq();
  while (1)
  {
  }
}
